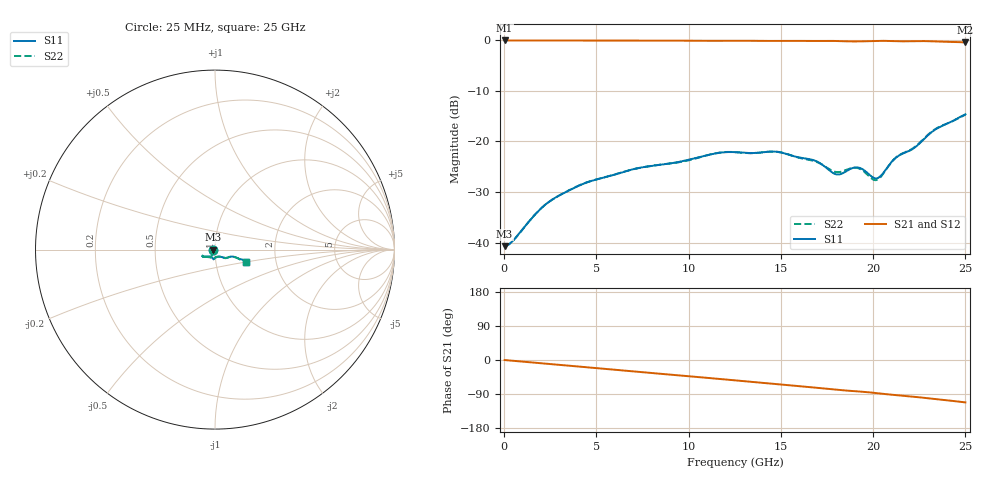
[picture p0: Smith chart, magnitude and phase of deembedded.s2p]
! R_s4_rect_n4: 3D, de-embedded (matched 2x-thru)
# Hz S RI R 50
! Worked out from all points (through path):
!   1000 points, 25 MHz to 25 GHz, reference 50 ohm
!   highest |S21| = -0.08 dB at 25 MHz (marker M1); lowest = -0.5 dB at 25 GHz (marker M2)
!   group delay of S21, straight-line fit = 12.2 ps
!   lowest |S11| = -40.7 dB at 25 MHz (marker M3), VSWR 1.02, Z = 49.1 - j0.0242 ohm
!   |S11| at or under -10 dB: start of sweep to end of sweep
!   |S22| runs from -40.6 to -14.7 dB; largest |S21 - S12| = 7.8e-07
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2.5e7  -0.00922 -0.000246  0.9908 -0.00188  0.9908 -0.00188  -0.00932 -0.000239
4.75e8  -0.00938 -0.0046  0.99 -0.0357  0.99 -0.0357  -0.00939 -0.0045
1.65e9  -0.0104 -0.0155  0.982 -0.1225  0.982 -0.1225  -0.0104 -0.0156
2.3e9  -0.0119 -0.0211  0.9749 -0.1697  0.9749 -0.1697  -0.0119 -0.0211
4.2e9  -0.0171 -0.0334  0.9409 -0.3052  0.9409 -0.3052  -0.0173 -0.0335
6.925e9  -0.0311 -0.0426  0.8595 -0.4883  0.8595 -0.4883  -0.0312 -0.0423
8.35e9  -0.0415 -0.0408  0.8019 -0.5783  0.8019 -0.5783  -0.0418 -0.0409
9.775e9  -0.0502 -0.0404  0.7321 -0.6588  0.7321 -0.6588  -0.0497 -0.0397
1.1575e10  -0.0656 -0.0395  0.639 -0.7483  0.639 -0.7483  -0.0657 -0.04
1.2525e10  -0.0699 -0.0351  0.5829 -0.7954  0.5829 -0.7954  -0.07 -0.035
1.48e10  -0.069 -0.0378  0.4352 -0.8799  0.4352 -0.8799  -0.0691 -0.0383
1.6675e10  -0.0519 -0.0407  0.3011 -0.9319  0.3011 -0.9319  -0.0504 -0.0406
1.71e10  -0.0468 -0.0394  0.2709 -0.9424  0.2709 -0.9424  -0.0452 -0.0404
1.7975e10  -0.0251 -0.0402  0.2007 -0.9582  0.2007 -0.9582  -0.0259 -0.0426
1.915e10  -0.00828 -0.0546  0.1211 -0.9614  0.1211 -0.9614  -0.0105 -0.0535
2.01e10  0.00968 -0.0421  0.0529 -0.9801  0.0529 -0.9801  0.00977 -0.0402
2.04e10  0.0218 -0.0397  0.0254 -0.9827  0.0254 -0.9827  0.0223 -0.0382
2.085e10  0.0399 -0.042  -0.0153 -0.9795  -0.0153 -0.9795  0.0408 -0.0409
2.1275e10  0.0521 -0.0466  -0.0485 -0.9729  -0.0485 -0.9729  0.0531 -0.0458
2.2225e10  0.075 -0.0421  -0.1185 -0.9678  -0.1185 -0.9678  0.0763 -0.042
2.3325e10  0.121 -0.0454  -0.2188 -0.9444  -0.2188 -0.9444  0.122 -0.0468
2.5e10  0.1715 -0.0688  -0.3533 -0.878  -0.3533 -0.878  0.1701 -0.0687
